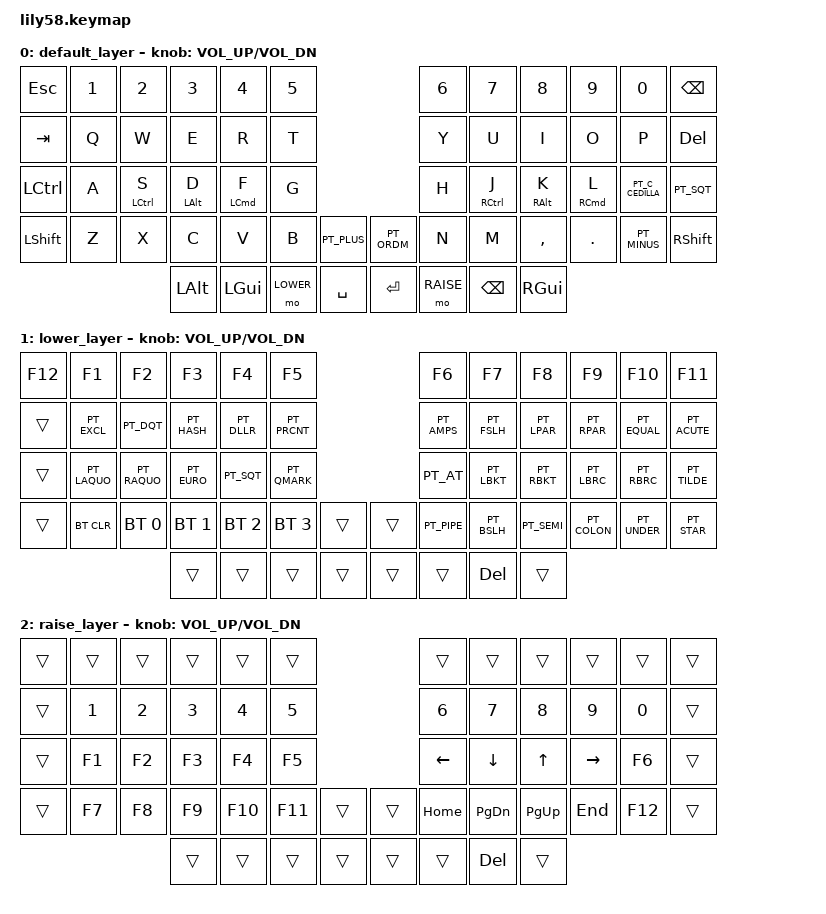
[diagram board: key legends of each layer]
/*
 * Portuguese (PT-PT) QWERTY layout for Lily58
 *
 * macOS setup: System Settings > Keyboard > Input Sources > add "Portuguese"
 *
 * Home row mods (timeless): hold S/D/F or J/K/L for Ctrl/Alt/Cmd
 *   - balanced flavor with 280ms tapping-term
 *   - require-prior-idle-ms prevents accidental triggers during fast typing
 *   - hold-trigger-key-positions: only opposite hand + thumbs trigger hold
 *
 * Accents (on LOWER layer, right column):
 *   Hold LOWER, tap ´ (right of =), release LOWER, tap vowel → á é í ó ú
 *   Hold LOWER, tap ~ (right of }), release LOWER, tap vowel → ã õ
 *   Add Shift to dead key: Shift+´ = ` → à    Shift+~ = ^ → â ê ô
 */

#include <behaviors.dtsi>
#include <dt-bindings/zmk/bt.h>
#include <dt-bindings/zmk/ext_power.h>
#include <dt-bindings/zmk/keys.h>
#include "keys_pt.h"

#define DEFAULT 0
#define LOWER   1
#define RAISE   2

// Lily58 key positions for hold-trigger-key-positions
//
// Row 0:  0  1  2  3  4  5       6  7  8  9 10 11
// Row 1: 12 13 14 15 16 17      18 19 20 21 22 23
// Row 2: 24 25 26 27 28 29      30 31 32 33 34 35
// Row 3: 36 37 38 39 40 41 42   43 44 45 46 47 48 49
// Thumb:             50 51 52 53   54 55 56 57

#define KEYS_L 0  1  2  3  4  5  12 13 14 15 16 17 24 25 26 27 28 29 36 37 38 39 40 41 42
#define KEYS_R 6  7  8  9  10 11 18 19 20 21 22 23 30 31 32 33 34 35 43 44 45 46 47 48 49
#define THUMBS 50 51 52 53 54 55 56 57

/ {
    behaviors {
        hml: home_row_mod_left {
            compatible = "zmk,behavior-hold-tap";
            #binding-cells = <2>;
            flavor = "balanced";
            tapping-term-ms = <280>;
            quick-tap-ms = <175>;
            require-prior-idle-ms = <150>;
            bindings = <&kp>, <&kp>;
            hold-trigger-key-positions = <KEYS_R THUMBS>;
            hold-trigger-on-release;
        };

        hmr: home_row_mod_right {
            compatible = "zmk,behavior-hold-tap";
            #binding-cells = <2>;
            flavor = "balanced";
            tapping-term-ms = <280>;
            quick-tap-ms = <175>;
            require-prior-idle-ms = <150>;
            bindings = <&kp>, <&kp>;
            hold-trigger-key-positions = <KEYS_L THUMBS>;
            hold-trigger-on-release;
        };
    };

    keymap {
        compatible = "zmk,keymap";

        default_layer {
            // ┌─────┬─────┬─────┬─────┬─────┬─────┐                    ┌─────┬─────┬─────┬─────┬─────┬─────┐
            // │ ESC │  1  │  2  │  3  │  4  │  5  │                    │  6  │  7  │  8  │  9  │  0  │BKSP │
            // ├─────┼─────┼─────┼─────┼─────┼─────┤                    ├─────┼─────┼─────┼─────┼─────┼─────┤
            // │ TAB │  Q  │  W  │  E  │  R  │  T  │                    │  Y  │  U  │  I  │  O  │  P  │ DEL │
            // ├─────┼─────┼─────┼─────┼─────┼─────┤                    ├─────┼─────┼─────┼─────┼─────┼─────┤
            // │CTRL │  A  │  S  │  D  │  F  │  G  │                    │  H  │  J  │  K  │  L  │  Ç  │ '/? │
            // │     │     │ ctrl│ alt │ cmd │     │                    │     │ ctrl│ alt │ cmd │     │     │
            // ├─────┼─────┼─────┼─────┼─────┼─────┼──────┐    ┌───────┼─────┼─────┼─────┼─────┼─────┼─────┤
            // │SHIFT│  Z  │  X  │  C  │  V  │  B  │  +   │    │   º   │  N  │  M  │  ,  │  .  │  -  │SHIFT│
            // └─────┴─────┴─────┼─────┼─────┼─────┼──────┤    ├───────┼─────┼─────┼─────┼─────┴─────┴─────┘
            //                   │ OPT │ CMD │LOWER│SPACE │    │ ENTER │RAISE│BKSP │ CMD │
            //                   └─────┴─────┴─────┴──────┘    └───────┴─────┴─────┴─────┘

            bindings = <
&kp ESC   &kp N1  &kp N2              &kp N3          &kp N4              &kp N5                              &kp N6  &kp N7               &kp N8           &kp N9               &kp N0            &kp BSPC
&kp TAB   &kp Q   &kp W               &kp E           &kp R               &kp T                               &kp Y   &kp U                &kp I            &kp O                &kp P             &kp DEL
&kp LCTRL &kp A   &hml LEFT_CONTROL S &hml LEFT_ALT D &hml LEFT_COMMAND F &kp G                               &kp H   &hmr RIGHT_CONTROL J &hmr RIGHT_ALT K &hmr RIGHT_COMMAND L &kp PT_C_CEDILLA  &kp PT_SQT
&kp LSHFT &kp Z   &kp X               &kp C           &kp V               &kp B   &kp PT_PLUS  &kp PT_ORDM   &kp N   &kp M                &kp COMMA        &kp DOT              &kp PT_MINUS      &kp RSHFT
                                        &kp LALT        &kp LGUI            &mo LOWER &kp SPACE  &kp RET       &mo RAISE &kp BSPC           &kp RGUI
            >;

            sensor-bindings = <&inc_dec_kp C_VOL_UP C_VOL_DN>;
        };

        lower_layer {
            // Symbols + Dead keys + F-keys + Bluetooth
            //
            // ┌─────┬─────┬─────┬─────┬─────┬─────┐                    ┌─────┬─────┬─────┬─────┬─────┬─────┐
            // │ F12 │ F1  │ F2  │ F3  │ F4  │ F5  │                    │ F6  │ F7  │ F8  │ F9  │ F10 │ F11 │
            // ├─────┼─────┼─────┼─────┼─────┼─────┤                    ├─────┼─────┼─────┼─────┼─────┼─────┤
            // │     │  !  │  "  │  #  │  $  │  %  │                    │  &  │  /  │  (  │  )  │  =  │  ´  │
            // ├─────┼─────┼─────┼─────┼─────┼─────┤                    ├─────┼─────┼─────┼─────┼─────┼─────┤
            // │     │  «  │  »  │  €  │  '  │  ?  │                    │  @  │  [  │  ]  │  {  │  }  │  ~  │
            // ├─────┼─────┼─────┼─────┼─────┼─────┼──────┐    ┌───────┼─────┼─────┼─────┼─────┼─────┼─────┤
            // │     │BTCLR│ BT0 │ BT1 │ BT2 │ BT3 │      │    │       │  |  │  \  │  ;  │  :  │  _  │  *  │
            // └─────┴─────┴─────┼─────┼─────┼─────┼──────┤    ├───────┼─────┼─────┼─────┼─────┴─────┴─────┘
            //                   │     │     │     │      │    │       │     │ DEL │     │
            //                   └─────┴─────┴─────┴──────┘    └───────┴─────┴─────┴─────┘
            //
            // Dead keys (right column):
            //   ´ = acute dead key     (Shift: ` grave)     → then vowel: á/à
            //   ~ = tilde dead key     (Shift: ^ circumflex) → then vowel: ã/â

            bindings = <
&kp F12   &kp F1       &kp F2       &kp F3       &kp F4       &kp F5                          &kp F6       &kp F7       &kp F8       &kp F9       &kp F10      &kp F11
&trans    &kp PT_EXCL  &kp PT_DQT   &kp PT_HASH  &kp PT_DLLR  &kp PT_PRCNT                    &kp PT_AMPS  &kp PT_FSLH  &kp PT_LPAR  &kp PT_RPAR  &kp PT_EQUAL &kp PT_ACUTE
&trans    &kp PT_LAQUO &kp PT_RAQUO &kp PT_EURO  &kp PT_SQT   &kp PT_QMARK                    &kp PT_AT    &kp PT_LBKT  &kp PT_RBKT  &kp PT_LBRC  &kp PT_RBRC  &kp PT_TILDE
&trans    &bt BT_CLR   &bt BT_SEL 0 &bt BT_SEL 1 &bt BT_SEL 2 &bt BT_SEL 3  &trans   &trans  &kp PT_PIPE  &kp PT_BSLH  &kp PT_SEMI  &kp PT_COLON &kp PT_UNDER &kp PT_STAR
                                     &trans       &trans        &trans        &trans   &trans  &trans       &kp DEL      &trans
            >;

            sensor-bindings = <&inc_dec_kp C_VOL_UP C_VOL_DN>;
        };

        raise_layer {
            // Navigation + Numbers + F-keys
            //
            // ┌─────┬─────┬─────┬─────┬─────┬─────┐                    ┌─────┬─────┬─────┬─────┬─────┬─────┐
            // │     │     │     │     │     │     │                    │     │     │     │     │     │     │
            // ├─────┼─────┼─────┼─────┼─────┼─────┤                    ├─────┼─────┼─────┼─────┼─────┼─────┤
            // │     │  1  │  2  │  3  │  4  │  5  │                    │  6  │  7  │  8  │  9  │  0  │     │
            // ├─────┼─────┼─────┼─────┼─────┼─────┤                    ├─────┼─────┼─────┼─────┼─────┼─────┤
            // │     │ F1  │ F2  │ F3  │ F4  │ F5  │                    │  ←  │  ↓  │  ↑  │  →  │ F6  │     │
            // ├─────┼─────┼─────┼─────┼─────┼─────┼──────┐    ┌───────┼─────┼─────┼─────┼─────┼─────┼─────┤
            // │     │ F7  │ F8  │ F9  │ F10 │ F11 │      │    │       │HOME │PG_DN│PG_UP│ END │ F12 │     │
            // └─────┴─────┴─────┼─────┼─────┼─────┼──────┤    ├───────┼─────┼─────┼─────┼─────┴─────┴─────┘
            //                   │     │     │     │      │    │       │     │ DEL │     │
            //                   └─────┴─────┴─────┴──────┘    └───────┴─────┴─────┴─────┘

            bindings = <
&trans    &trans  &trans  &trans   &trans   &trans                        &trans    &trans    &trans    &trans    &trans  &trans
&trans    &kp N1  &kp N2  &kp N3   &kp N4   &kp N5                      &kp N6    &kp N7    &kp N8    &kp N9    &kp N0  &trans
&trans    &kp F1  &kp F2  &kp F3   &kp F4   &kp F5                      &kp LEFT  &kp DOWN  &kp UP    &kp RIGHT &kp F6  &trans
&trans    &kp F7  &kp F8  &kp F9   &kp F10  &kp F11  &trans    &trans   &kp HOME  &kp PG_DN &kp PG_UP &kp END   &kp F12 &trans
                           &trans   &trans   &trans   &trans    &trans   &trans    &kp DEL   &trans
            >;

            sensor-bindings = <&inc_dec_kp C_VOL_UP C_VOL_DN>;
        };
    };
};
